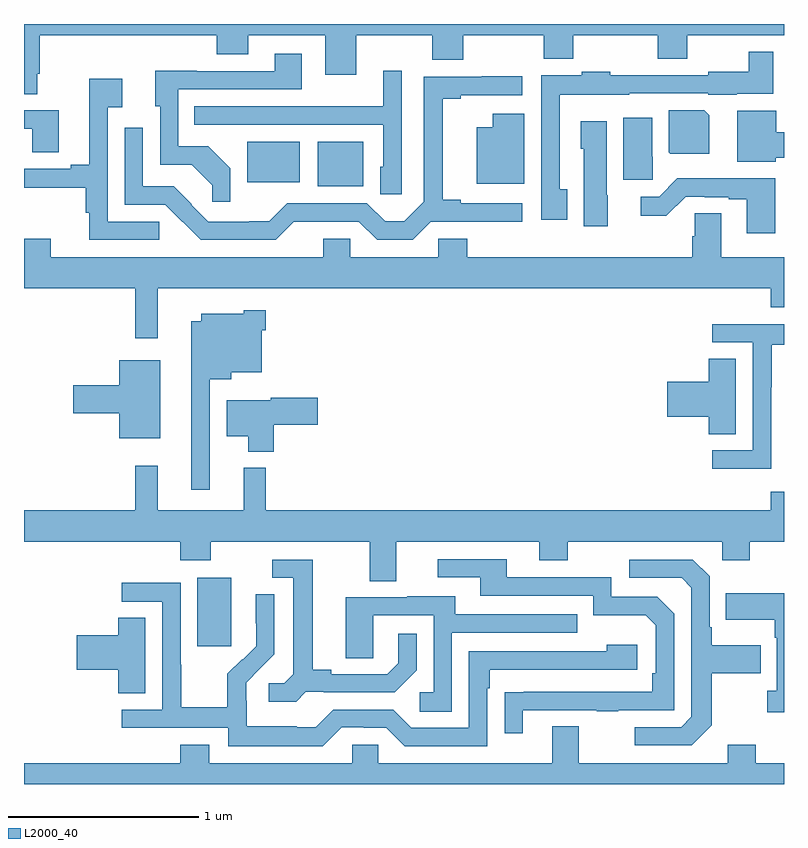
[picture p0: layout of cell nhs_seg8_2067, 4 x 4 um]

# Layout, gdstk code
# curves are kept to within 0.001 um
import gdstk
lib = gdstk.Library(unit=1e-6, precision=1e-09)
def R(c, l, rs):  # rectangles x0, y0, x1, y1
    for r in rs: c.add(gdstk.rectangle(r[:2], r[2:], *l))
def P(c, l, *ps):  # polygons
    for p in ps: c.add(gdstk.Polygon(p, *l))
L2000_40 = (2000, 40)

nhs_seg8_2067 = lib.new_cell('nhs_seg8_2067')
R(nhs_seg8_2067, L2000_40, [(241.913,1106.625,242.092,1106.986), (242.546,1109.045,242.785,1109.281), (242.174,1109.066,242.452,1109.281)])
P(nhs_seg8_2067, L2000_40, [(241.069,1109.638),(241.082,1109.638),(241.082,1109.84),(242.015,1109.84),(242.015,1109.741),(242.179,1109.741),(242.179,1109.84),(242.585,1109.84),(242.585,1109.634),(242.749,1109.634),(242.749,1109.84),(243.149,1109.84),(243.149,1109.712),(243.313,1109.712),(243.313,1109.84),(243.736,1109.84),(243.736,1109.716),(243.891,1109.716),(243.891,1109.84),(244.336,1109.84),(244.336,1109.716),(244.491,1109.716),(244.491,1109.84),(245,1109.84),(245,1109.9),(241,1109.9),(241,1109.53),(241.069,1109.53)],
  [(243.859,1109.03),(243.819,1109.03),(243.819,1109.528),(244.185,1109.528),(244.185,1109.535),(244.602,1109.535),(244.602,1109.528),(244.752,1109.528),(244.752,1109.534),(244.943,1109.534),(244.943,1109.755),(244.815,1109.755),(244.815,1109.65),(244.602,1109.65),(244.602,1109.631),(244.086,1109.631),(244.086,1109.649),(243.936,1109.649),(243.936,1109.631),(243.723,1109.631),(243.723,1108.869),(243.859,1108.869)],
  [(242.085,1109.14),(241.969,1109.256),(241.812,1109.256),(241.812,1109.556),(242.461,1109.556),(242.461,1109.743),(242.321,1109.743),(242.321,1109.652),(241.909,1109.652),(241.909,1109.654),(241.691,1109.654),(241.691,1109.466),(241.716,1109.466),(241.716,1109.16),(241.882,1109.16),(241.99,1109.052),(241.99,1108.965),(242.085,1108.965)],
  [(242.988,1109.653),(242.891,1109.653),(242.891,1109.467),(242.557,1109.467),(242.557,1109.466),(241.897,1109.466),(241.897,1109.37),(242.892,1109.37),(242.892,1109.148),(242.876,1109.148),(242.876,1109.005),(242.988,1109.005)],
  [(242.42,1108.859),(242.763,1108.86),(242.859,1108.764),(243.046,1108.764),(243.142,1108.86),(243.622,1108.859),(243.622,1108.956),(243.298,1108.956),(243.298,1108.976),(243.203,1108.976),(243.203,1109.506),(243.298,1109.506),(243.298,1109.526),(243.622,1109.526),(243.622,1109.624),(243.409,1109.624),(243.409,1109.622),(243.105,1109.622),(243.105,1108.965),(243.001,1108.861),(242.9,1108.861),(242.805,1108.956),(242.385,1108.956),(242.291,1108.862),(242.186,1108.862),(242.186,1108.86),(241.971,1108.86),(241.881,1108.95),(241.883,1108.952),(241.789,1109.046),(241.626,1109.046),(241.626,1109.353),(241.53,1109.353),(241.53,1108.95),(241.743,1108.95),(241.931,1108.764),(242.325,1108.764)],
  [(241.713,1108.86),(241.44,1108.86),(241.44,1109.462),(241.516,1109.462),(241.516,1109.611),(241.343,1109.611),(241.343,1109.159),(241.247,1109.159),(241.247,1109.139),(241,1109.139),(241,1109.038),(241.324,1109.038),(241.324,1108.907),(241.343,1108.907),(241.343,1108.764),(241.713,1108.764)],
  [(244.606,1109.42),(244.58,1109.446),(244.394,1109.446),(244.394,1109.224),(244.402,1109.216),(244.606,1109.216)],
  [(241.183,1109.445),(241,1109.445),(241,1109.349),(241.043,1109.349),(241.043,1109.224),(241.183,1109.224)],
  [(244.956,1109.195),(245,1109.195),(245,1109.33),(244.96,1109.33),(244.96,1109.444),(244.754,1109.444),(244.754,1109.174),(244.956,1109.174)],
  [(243.634,1109.428),(243.467,1109.428),(243.467,1109.356),(243.383,1109.356),(243.383,1109.06),(243.634,1109.06)],
  [(244.31,1109.202),(244.306,1109.202),(244.306,1109.407),(244.154,1109.407),(244.154,1109.079),(244.31,1109.079)],
  [(244.072,1108.998),(244.066,1108.998),(244.066,1109.389),(243.929,1109.389),(243.929,1109.244),(243.947,1109.244),(243.947,1108.836),(244.072,1108.836)],
  [(244.953,1109.087),(244.439,1109.087),(244.344,1108.992),(244.245,1108.992),(244.245,1108.89),(244.38,1108.89),(244.482,1108.992),(244.582,1108.992),(244.582,1108.989),(244.709,1108.989),(244.709,1108.977),(244.805,1108.977),(244.805,1108.8),(244.953,1108.8)],
  [(241.704,1108.508),(244.931,1108.508),(244.931,1108.409),(245,1108.409),(245,1108.672),(244.669,1108.672),(244.669,1108.904),(244.53,1108.904),(244.53,1108.782),(244.517,1108.782),(244.517,1108.672),(243.332,1108.672),(243.332,1108.77),(243.18,1108.77),(243.18,1108.672),(242.718,1108.672),(242.718,1108.77),(242.576,1108.77),(242.576,1108.672),(241.141,1108.672),(241.141,1108.771),(241,1108.771),(241,1108.508),(241.585,1108.508),(241.585,1108.245),(241.704,1108.245)],
  [(241.977,1108.031),(242.092,1108.031),(242.092,1108.067),(242.251,1108.067),(242.251,1108.289),(242.273,1108.289),(242.273,1108.393),(242.157,1108.393),(242.157,1108.375),(241.934,1108.375),(241.934,1108.336),(241.88,1108.336),(241.88,1107.45),(241.977,1107.45)],
  [(244.932,1107.988),(244.935,1107.988),(244.935,1108.212),(245,1108.212),(245,1108.32),(244.623,1108.32),(244.623,1108.224),(244.836,1108.224),(244.836,1107.657),(244.623,1107.657),(244.623,1107.559),(244.932,1107.559)],
  [(244.747,1108.139),(244.604,1108.139),(244.604,1108.016),(244.386,1108.016),(244.386,1107.833),(244.604,1107.833),(244.604,1107.742),(244.747,1107.742)],
  [(241.717,1108.129),(241.502,1108.129),(241.502,1107.998),(241.26,1107.998),(241.26,1107.851),(241.502,1107.851),(241.502,1107.719),(241.717,1107.719)],
  [(242.315,1107.79),(242.545,1107.79),(242.545,1107.932),(242.298,1107.932),(242.298,1107.919),(242.066,1107.919),(242.066,1107.731),(242.18,1107.731),(242.18,1107.65),(242.315,1107.65)],
  [(242.959,1107.176),(243.713,1107.176),(243.713,1107.077),(243.861,1107.077),(243.861,1107.176),(244.674,1107.176),(244.674,1107.077),(244.821,1107.077),(244.821,1107.176),(245,1107.176),(245,1107.439),(244.931,1107.439),(244.931,1107.34),(242.273,1107.34),(242.273,1107.565),(242.156,1107.565),(242.156,1107.34),(241.703,1107.34),(241.703,1107.574),(241.585,1107.574),(241.585,1107.34),(241,1107.34),(241,1107.176),(241.823,1107.176),(241.823,1107.077),(241.983,1107.077),(241.983,1107.176),(242.819,1107.176),(242.819,1106.968),(242.959,1106.968)],
  [(243.625,1106.289),(244.015,1106.289),(244.015,1106.284),(244.127,1106.284),(244.127,1106.289),(244.422,1106.289),(244.422,1106.796),(244.332,1106.886),(244.092,1106.886),(244.092,1106.988),(243.541,1106.988),(243.541,1107.084),(243.177,1107.084),(243.177,1106.988),(243.401,1106.988),(243.401,1106.892),(243.996,1106.892),(243.996,1106.789),(244.273,1106.789),(244.326,1106.736),(244.326,1106.482),(244.306,1106.482),(244.306,1106.385),(243.529,1106.384),(243.529,1106.166),(243.625,1106.166)],
  [(244.621,1106.209),(244.621,1106.482),(244.877,1106.482),(244.877,1106.629),(244.621,1106.629),(244.621,1106.725),(244.608,1106.725),(244.608,1106.994),(244.521,1107.081),(244.185,1107.081),(244.185,1106.985),(244.461,1106.985),(244.512,1106.934),(244.512,1106.253),(244.458,1106.199),(244.215,1106.199),(244.215,1106.103),(244.515,1106.103)],
  [(242.484,1106.385),(242.578,1106.385),(242.578,1106.382),(242.95,1106.382),(243.066,1106.498),(243.066,1106.692),(242.969,1106.692),(242.969,1106.535),(242.912,1106.478),(242.617,1106.478),(242.617,1106.501),(242.521,1106.501),(242.521,1107.081),(242.307,1107.081),(242.307,1106.985),(242.417,1106.985),(242.417,1106.477),(242.37,1106.43),(242.289,1106.43),(242.289,1106.333),(242.432,1106.333)],
  [(242.673,1106.199),(242.789,1106.199),(242.789,1106.196),(242.907,1106.196),(243.003,1106.1),(243.438,1106.1),(243.438,1106.405),(243.451,1106.405),(243.451,1106.502),(244.228,1106.502),(244.228,1106.632),(244.067,1106.632),(244.067,1106.598),(243.342,1106.598),(243.342,1106.196),(243.039,1106.196),(242.943,1106.292),(242.628,1106.292),(242.535,1106.199),(242.435,1106.199),(242.435,1106.203),(242.172,1106.203),(242.172,1106.337),(242.17,1106.337),(242.17,1106.434),(242.316,1106.582),(242.316,1106.9),(242.22,1106.9),(242.22,1106.746),(242.222,1106.746),(242.222,1106.624),(242.151,1106.553),(242.148,1106.556),(242.071,1106.479),(242.071,1106.305),(241.827,1106.305),(241.827,1106.528),(241.824,1106.528),(241.824,1106.958),(241.515,1106.958),(241.515,1106.859),(241.728,1106.859),(241.728,1106.292),(241.515,1106.292),(241.515,1106.196),(242.076,1106.196),(242.076,1106.099),(242.573,1106.099)],
  [(245,1106.905),(244.693,1106.905),(244.693,1106.765),(244.95,1106.765),(244.95,1106.669),(244.962,1106.669),(244.962,1106.39),(244.911,1106.39),(244.911,1106.277),(245,1106.277)],
  [(243.252,1106.697),(243.911,1106.697),(243.911,1106.793),(243.271,1106.793),(243.271,1106.887),(243.017,1106.887),(243.017,1106.883),(242.693,1106.883),(242.693,1106.563),(242.838,1106.563),(242.838,1106.787),(243.156,1106.787),(243.156,1106.382),(243.084,1106.382),(243.084,1106.281),(243.252,1106.281)],
  [(241.639,1106.774),(241.496,1106.774),(241.496,1106.684),(241.278,1106.684),(241.278,1106.501),(241.496,1106.501),(241.496,1106.377),(241.639,1106.377)],
  [(245,1106.008),(244.851,1106.008),(244.851,1106.107),(244.703,1106.107),(244.703,1106.008),(243.919,1106.008),(243.919,1106.203),(243.779,1106.203),(243.779,1106.008),(242.865,1106.008),(242.865,1106.106),(242.727,1106.106),(242.727,1106.008),(241.975,1106.008),(241.975,1106.107),(241.823,1106.107),(241.823,1106.008),(241,1106.008),(241,1105.9),(245,1105.9)])

lib.write_gds('nhs_seg8_2067.gds')
